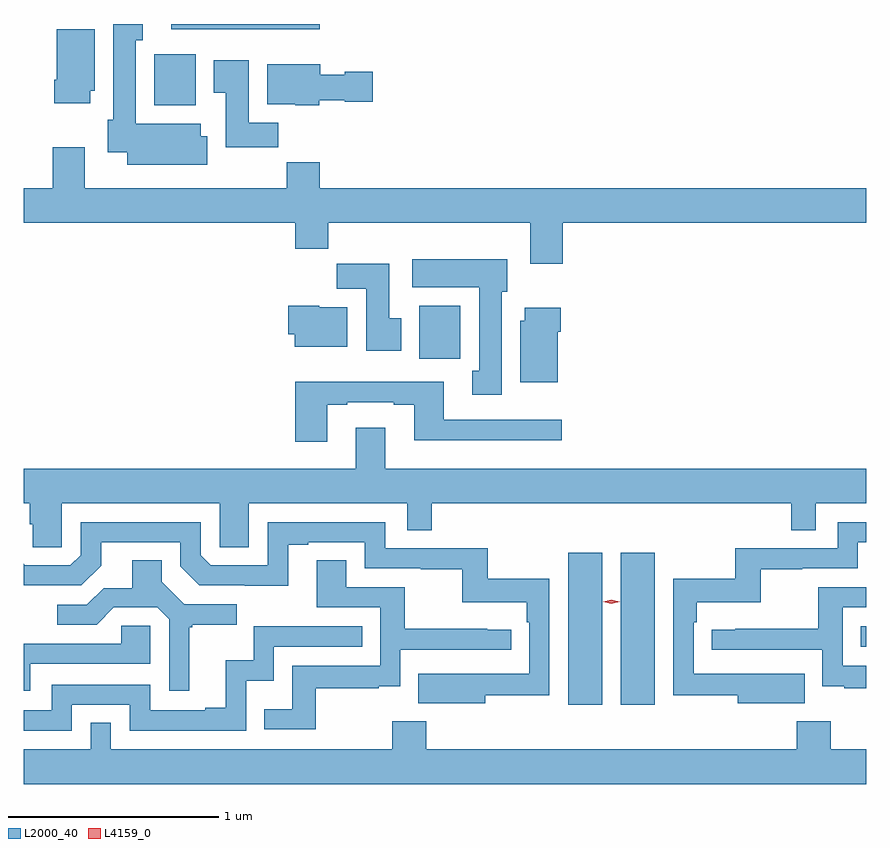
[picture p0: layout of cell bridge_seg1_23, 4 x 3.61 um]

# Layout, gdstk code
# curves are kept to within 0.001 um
import gdstk
lib = gdstk.Library(unit=1e-6, precision=1e-09)
def R(c, l, rs):  # rectangles x0, y0, x1, y1
    for r in rs: c.add(gdstk.rectangle(r[:2], r[2:], *l))
def P(c, l, *ps):  # polygons
    for p in ps: c.add(gdstk.Polygon(p, *l))
L2000_40 = (2000, 40)
L4159_0 = (4159, 0)

bridge_seg1_23 = lib.new_cell('bridge_seg1_23')
R(bridge_seg1_23, L2000_40, [(1024.025,510.816,1024.186,511.537), (1024.274,510.816,1024.435,511.537), (1025.413,511.092,1025.44,511.188), (1023.317,512.46,1023.513,512.71), (1022.06,513.662,1022.257,513.904), (1022.141,514.022,1022.846,514.048)])
P(bridge_seg1_23, L2000_40, [(1022.311,513.515),(1022.281,513.515),(1022.281,513.574),(1021.972,513.574),(1021.972,513.971),(1022.005,513.971),(1022.005,514.048),(1021.865,514.048),(1021.865,513.594),(1021.838,513.594),(1021.838,513.44),(1021.931,513.44),(1021.931,513.38),(1022.311,513.38)],
  [(1021.756,513.732),(1021.777,513.732),(1021.777,514.024),(1021.598,514.024),(1021.598,513.784),(1021.586,513.784),(1021.586,513.672),(1021.756,513.672)],
  [(1022.648,513.58),(1022.509,513.58),(1022.509,513.877),(1022.342,513.877),(1022.342,513.721),(1022.399,513.721),(1022.399,513.462),(1022.648,513.462)],
  [(1022.844,513.686),(1022.964,513.686),(1022.964,513.679),(1023.097,513.679),(1023.097,513.821),(1022.964,513.821),(1022.964,513.808),(1022.848,513.808),(1022.848,513.856),(1022.597,513.856),(1022.597,513.668),(1022.73,513.668),(1022.73,513.662),(1022.844,513.662)],
  [(1023.998,513.104),(1025.44,513.104),(1025.44,513.268),(1022.846,513.268),(1022.846,513.392),(1022.689,513.392),(1022.689,513.268),(1021.729,513.268),(1021.729,513.463),(1021.577,513.463),(1021.577,513.268),(1021.44,513.268),(1021.44,513.104),(1022.729,513.104),(1022.729,512.98),(1022.885,512.98),(1022.885,513.104),(1023.845,513.104),(1023.845,512.91),(1023.998,512.91)],
  [(1023.709,512.778),(1023.736,512.778),(1023.736,512.932),(1023.285,512.932),(1023.285,512.798),(1023.602,512.798),(1023.602,512.401),(1023.569,512.401),(1023.569,512.289),(1023.709,512.289)],
  [(1023.232,512.652),(1023.175,512.652),(1023.175,512.911),(1022.926,512.911),(1022.926,512.792),(1023.065,512.792),(1023.065,512.496),(1023.232,512.496)],
  [(1022.977,512.704),(1022.844,512.704),(1022.844,512.71),(1022.696,512.71),(1022.696,512.574),(1022.726,512.574),(1022.726,512.516),(1022.977,512.516)],
  [(1023.976,512.588),(1023.989,512.588),(1023.989,512.701),(1023.818,512.701),(1023.818,512.64),(1023.797,512.64),(1023.797,512.348),(1023.976,512.348)],
  [(1022.881,512.241),(1022.977,512.241),(1022.977,512.253),(1023.197,512.253),(1023.197,512.241),(1023.293,512.241),(1023.293,512.072),(1023.994,512.072),(1023.994,512.169),(1023.433,512.169),(1023.433,512.35),(1022.729,512.35),(1022.729,512.064),(1022.881,512.064)],
  [(1021.62,511.772),(1022.37,511.772),(1022.37,511.564),(1022.509,511.564),(1022.509,511.772),(1023.261,511.772),(1023.261,511.645),(1023.377,511.645),(1023.377,511.772),(1025.083,511.772),(1025.083,511.645),(1025.199,511.645),(1025.199,511.772),(1025.44,511.772),(1025.44,511.936),(1023.157,511.936),(1023.157,512.131),(1023.017,512.131),(1023.017,511.936),(1021.44,511.936),(1021.44,511.772),(1021.469,511.772),(1021.469,511.674),(1021.483,511.674),(1021.483,511.564),(1021.62,511.564)],
  [(1025.147,510.964),(1024.933,510.964),(1024.933,510.963),(1024.62,510.963),(1024.62,511.208),(1024.634,511.208),(1024.634,511.304),(1024.939,511.304),(1024.939,511.459),(1025.135,511.459),(1025.135,511.464),(1025.4,511.464),(1025.4,511.587),(1025.44,511.587),(1025.44,511.683),(1025.304,511.683),(1025.304,511.56),(1024.818,511.56),(1024.818,511.414),(1024.524,511.414),(1024.524,510.862),(1024.829,510.862),(1024.829,510.824),(1025.147,510.824)],
  [(1023.631,510.862),(1023.936,510.862),(1023.936,511.414),(1023.643,511.414),(1023.643,511.56),(1023.156,511.56),(1023.156,511.683),(1022.598,511.683),(1022.598,511.479),(1022.328,511.479),(1022.28,511.527),(1022.28,511.683),(1021.71,511.683),(1021.71,511.527),(1021.662,511.479),(1021.446,511.479),(1021.44,511.485),(1021.44,511.383),(1021.713,511.383),(1021.807,511.477),(1021.807,511.587),(1022.184,511.587),(1022.184,511.473),(1022.274,511.383),(1022.695,511.382),(1022.695,511.575),(1022.791,511.575),(1022.791,511.587),(1023.06,511.587),(1023.06,511.464),(1023.325,511.464),(1023.325,511.459),(1023.522,511.459),(1023.522,511.304),(1023.827,511.304),(1023.827,511.208),(1023.84,511.208),(1023.84,510.963),(1023.313,510.964),(1023.313,510.824),(1023.631,510.824)],
  [(1022.827,510.894),(1023.125,510.894),(1023.125,510.905),(1023.228,510.905),(1023.228,511.077),(1023.754,511.077),(1023.754,511.173),(1023.641,511.173),(1023.641,511.178),(1023.248,511.178),(1023.248,511.374),(1022.971,511.374),(1022.971,511.502),(1022.831,511.502),(1022.831,511.278),(1023.132,511.278),(1023.132,511.002),(1022.716,511.002),(1022.716,510.796),(1022.581,510.796),(1022.581,510.699),(1022.827,510.699)],
  [(1022.227,511.185),(1022.239,511.185),(1022.239,511.196),(1022.452,511.196),(1022.452,511.293),(1022.202,511.293),(1022.095,511.4),(1022.095,511.502),(1021.955,511.502),(1021.955,511.37),(1021.82,511.37),(1021.74,511.29),(1021.599,511.29),(1021.599,511.197),(1021.786,511.197),(1021.867,511.278),(1022.073,511.278),(1022.13,511.221),(1022.13,510.882),(1022.227,510.882)],
  [(1025.44,511.002),(1025.328,511.002),(1025.328,511.278),(1025.44,511.278),(1025.44,511.374),(1025.212,511.374),(1025.212,511.178),(1024.819,511.178),(1024.819,511.173),(1024.707,511.173),(1024.707,511.077),(1025.232,511.077),(1025.232,510.905),(1025.335,510.905),(1025.335,510.894),(1025.44,510.894)],
  [(1021.471,511.011),(1022.04,511.011),(1022.04,511.191),(1021.903,511.191),(1021.903,511.107),(1021.44,511.107),(1021.44,510.882),(1021.471,510.882)],
  [(1021.668,510.816),(1021.944,510.816),(1021.944,510.693),(1022.496,510.693),(1022.496,510.929),(1022.628,510.929),(1022.628,511.092),(1023.047,511.092),(1023.047,511.188),(1022.532,511.188),(1022.532,511.027),(1022.399,511.027),(1022.399,510.802),(1022.303,510.802),(1022.303,510.789),(1022.04,510.789),(1022.04,510.912),(1021.572,510.912),(1021.572,510.789),(1021.44,510.789),(1021.44,510.693),(1021.668,510.693)],
  [(1025.44,510.604),(1025.271,510.604),(1025.271,510.739),(1025.111,510.739),(1025.111,510.604),(1023.35,510.604),(1023.35,510.739),(1023.19,510.739),(1023.19,510.604),(1021.854,510.604),(1021.854,510.731),(1021.758,510.731),(1021.758,510.604),(1021.44,510.604),(1021.44,510.44),(1025.44,510.44)])
P(bridge_seg1_23, L4159_0, [(1024.23,511.295),(1024.191,511.305),(1024.19,511.305),(1024.191,511.306),(1024.23,511.315),(1024.269,511.306),(1024.269,511.305),(1024.269,511.305)])

lib.write_gds('bridge_seg1_23.gds')
